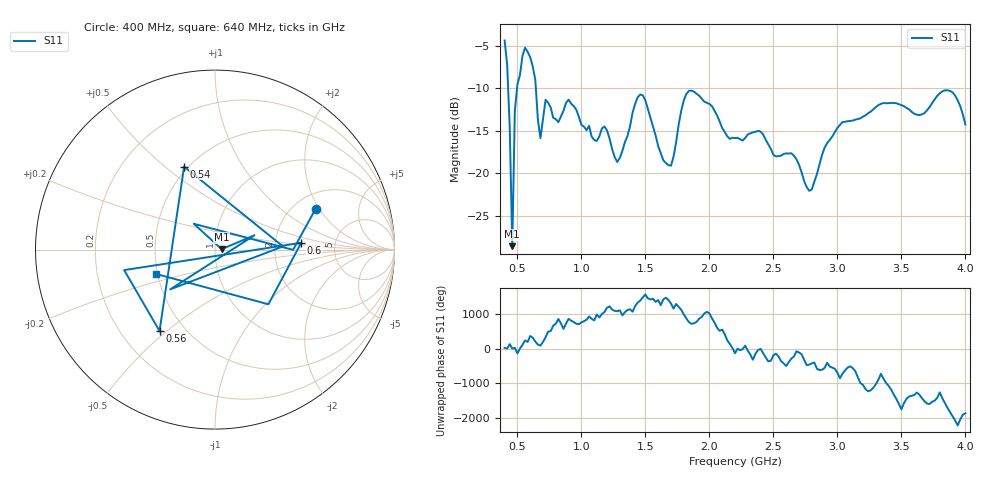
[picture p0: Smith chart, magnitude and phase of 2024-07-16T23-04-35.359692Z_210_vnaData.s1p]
!Created with skrf (http://scikit-rf.org).
# Hz S RI R 50.0
!freq ReS11 ImS11
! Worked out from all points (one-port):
!   181 points, 400 MHz to 4 GHz, reference 50 ohm
!   lowest |S11| = -28.6 dB at 460 MHz (marker M1), VSWR 1.08, Z = 53.9 + j0.242 ohm
!   |S11| at or under -10 dB: 427.5 MHz to 497 MHz (69.48 MHz wide, 15 % of centre); 644.2 MHz to end of sweep
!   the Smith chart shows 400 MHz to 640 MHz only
!   S11 on the Smith chart (normalised r, x): 400 MHz: 2.59, +1.86; 540 MHz: 0.48, +0.58; 560 MHz: 0.36, -0.47; 600 MHz: 2.83, +0.28; 640 MHz: 0.49, -0.15
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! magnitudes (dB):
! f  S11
! 400 MHz  -4.4
! 420 MHz  -7.2
! 440 MHz  -14.6
! 460 MHz  -28.6
! 480 MHz  -12.6
! 540 MHz  -6.1
! 560 MHz  -5.2
! 600 MHz  -6.3
! 640 MHz  -9.0
! 680 MHz  -15.9
! 720 MHz  -11.3
! 860 MHz  -12.7
! 900 MHz  -11.3
! 1.1 GHz  -16.1
! 1.18 GHz  -14.5
! 1.3 GHz  -18.2
! 1.46 GHz  -10.7
! 1.68 GHz  -19.1
! 1.76 GHz  -14.3
! 1.86 GHz  -10.3
! 2.2 GHz  -15.9
! 2.66 GHz  -17.9
! 2.8 GHz  -21.9
! 2.92 GHz  -16.5
! 3.1 GHz  -13.8
! 3.56 GHz  -12.5
! 3.88 GHz  -10.3
! 4 GHz  -14.3
